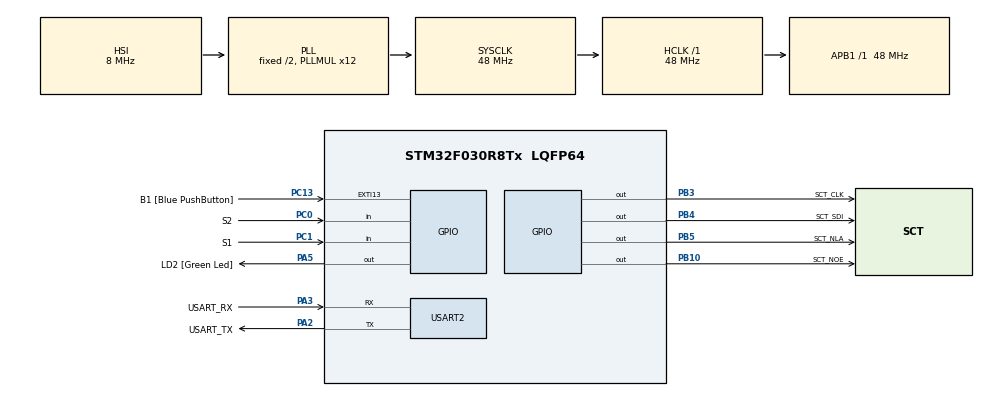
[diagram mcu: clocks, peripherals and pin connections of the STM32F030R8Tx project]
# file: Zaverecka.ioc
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Mcu.Family=STM32F0
Mcu.Name=STM32F030R8Tx
Mcu.Package=LQFP64
PA13.GPIO_Label=TMS
PA13.Mode=Serial_Wire
PA13.Signal=SYS_SWDIO
PA14.GPIO_Label=TCK
PA14.Mode=Serial_Wire
PA14.Signal=SYS_SWCLK
PA2.GPIO_Label=USART_TX
PA2.GPIO_Mode=GPIO_MODE_AF_PP
PA2.GPIO_PuPd=GPIO_NOPULL
PA2.GPIO_Speed=GPIO_SPEED_FREQ_LOW
PA2.Mode=Asynchronous
PA2.Signal=USART2_TX
PA3.GPIO_Label=USART_RX
PA3.GPIO_Mode=GPIO_MODE_AF_PP
PA3.GPIO_PuPd=GPIO_NOPULL
PA3.GPIO_Speed=GPIO_SPEED_FREQ_LOW
PA3.Mode=Asynchronous
PA3.Signal=USART2_RX
PA5.GPIO_Label=LD2 [Green Led]
PA5.GPIO_Mode=GPIO_MODE_OUTPUT_PP
PA5.GPIO_PuPd=GPIO_NOPULL
PA5.GPIO_Speed=GPIO_SPEED_FREQ_LOW
PA5.Signal=GPIO_Output
PB10.GPIO_Label=SCT_NOE
PB10.Signal=GPIO_Output
PB3.GPIO_Label=SCT_CLK
PB3.Signal=GPIO_Output
PB4.GPIO_Label=SCT_SDI
PB4.Signal=GPIO_Output
PB5.GPIO_Label=SCT_NLA
PB5.Signal=GPIO_Output
PC0.GPIO_Label=S2
PC0.Signal=GPIO_Input
PC1.GPIO_Label=S1
PC1.GPIO_PuPd=GPIO_PULLUP
PC1.Signal=GPIO_Input
PC13.GPIO_Label=B1 [Blue PushButton]
PC13.GPIO_ModeDefaultEXTI=GPIO_MODE_IT_FALLING
PC13.Signal=GPXTI13
PC14-OSC32_IN.Mode=LSE-External-Oscillator
PC14-OSC32_IN.Signal=RCC_OSC32_IN
PC15-OSC32_OUT.Mode=LSE-External-Oscillator
PC15-OSC32_OUT.Signal=RCC_OSC32_OUT
PF0-OSC_IN.Mode=HSE-External-Clock-Source
PF0-OSC_IN.Signal=RCC_OSC_IN
PF1-OSC_OUT.Signal=RCC_OSC_OUT
ProjectManager.HeapSize=0x200
ProjectManager.StackSize=0x400
ProjectManager.TargetToolchain=STM32CubeIDE
RCC.AHBFreq_Value=48000000
RCC.APB1Freq_Value=48000000
RCC.APB1TimFreq_Value=48000000
RCC.HCLKFreq_Value=48000000
RCC.PLLMUL=RCC_PLL_MUL12
RCC.SYSCLKFreq_VALUE=48000000
RCC.SYSCLKSource=RCC_SYSCLKSOURCE_PLLCLK
USART2.VirtualMode-Asynchronous=VM_ASYNC
board=NUCLEO-F030R8

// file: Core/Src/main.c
/* USER CODE BEGIN Header */
/**
 ******************************************************************************
 * @file           : main.c
 * @brief          : Main program body
 ******************************************************************************
 * @attention
 *
 * Copyright (c) 2024 STMicroelectronics.
 * All rights reserved.
 *
 * This software is licensed under terms that can be found in the LICENSE file
 * in the root directory of this software component.
 * If no LICENSE file comes with this software, it is provided AS-IS.
 *
 ******************************************************************************
 */
/* USER CODE END Header */
#include "main.h"

/* USER CODE BEGIN Includes */
#include "sct.h"
/* USER CODE END Includes */

UART_HandleTypeDef huart2;

void SystemClock_Config(void);
static void MX_GPIO_Init(void);
static void MX_USART2_UART_Init(void);

int main(void)
{

	/* MCU Configuration--------------------------------------------------------*/

	/* Reset of all peripherals, Initializes the Flash interface and the Systick. */
	HAL_Init();

	/* Configure the system clock */
	SystemClock_Config();

	/* Initialize all configured peripherals */
	MX_GPIO_Init();
	MX_USART2_UART_Init();
	/* USER CODE BEGIN 2 */

	sct_init();
	sct_value(000);
	HAL_Delay(500);
	uint32_t state=1;
	uint32_t direct=0;
	/* USER CODE END 2 */

	/* Infinite loop */
	while (1)
	{

		/* USER CODE BEGIN 3 */

		switch(state){   //state change
		case 1:
			sct_snake(100);
			HAL_Delay(500);
			break;
		case 2:
			sct_snake(10);
			HAL_Delay(500);
			break;
		case 3:
			sct_snake(1);
			HAL_Delay(500);
			break;
		case 4:
			sct_snake(2);
			HAL_Delay(500);
			break;
		case 5:
			sct_snake(3);
			HAL_Delay(500);
			break;
		case 6:
			sct_snake(4);
			HAL_Delay(500);
			break;
		case 7:
			sct_snake(20);
			HAL_Delay(500);
			break;
		case 8:
			sct_snake(200);
			HAL_Delay(500);
			break;
		case 9:
			sct_snake(300);
			HAL_Delay(500);
			break;
		case 10:
			sct_snake(400);
			HAL_Delay(500);
			break;
		default:
			sct_snake(000);
			state=1;
			break;
		}

		// button push
		if (HAL_GPIO_ReadPin(S1_GPIO_Port,S1_Pin)==0){
			direct=0; //S1
		}else if(HAL_GPIO_ReadPin(S2_GPIO_Port,S2_Pin)==0) {
			direct=1; //S2
		}

		if (direct==1){		//direction change
			if (state==1){  //direction <-
				state=10;
			}else{
				state--;}
		}else{				//direction ->
			if (state==10){
				state=1;
			}else{
				state++;}
		}

		/*for(uint8_t i = 0; i < 3; i++){
	  		  sct_snake(111*i);
	  		  HAL_Delay(500);
	  }*/
	}
	/* USER CODE END 3 */
}

void SystemClock_Config(void)
{
	RCC_OscInitTypeDef RCC_OscInitStruct = {0};
	RCC_ClkInitTypeDef RCC_ClkInitStruct = {0};

	/** Initializes the RCC Oscillators according to the specified parameters
	 * in the RCC_OscInitTypeDef structure.
	 */
	RCC_OscInitStruct.OscillatorType = RCC_OSCILLATORTYPE_HSI;
	RCC_OscInitStruct.HSIState = RCC_HSI_ON;
	RCC_OscInitStruct.HSICalibrationValue = RCC_HSICALIBRATION_DEFAULT;
	RCC_OscInitStruct.PLL.PLLState = RCC_PLL_ON;
	RCC_OscInitStruct.PLL.PLLSource = RCC_PLLSOURCE_HSI;
	RCC_OscInitStruct.PLL.PLLMUL = RCC_PLL_MUL12;
	RCC_OscInitStruct.PLL.PREDIV = RCC_PREDIV_DIV1;
	if (HAL_RCC_OscConfig(&RCC_OscInitStruct) != HAL_OK)
	{
		Error_Handler();
	}

	/** Initializes the CPU, AHB and APB buses clocks
	 */
	RCC_ClkInitStruct.ClockType = RCC_CLOCKTYPE_HCLK|RCC_CLOCKTYPE_SYSCLK
			|RCC_CLOCKTYPE_PCLK1;
	RCC_ClkInitStruct.SYSCLKSource = RCC_SYSCLKSOURCE_PLLCLK;
	RCC_ClkInitStruct.AHBCLKDivider = RCC_SYSCLK_DIV1;
	RCC_ClkInitStruct.APB1CLKDivider = RCC_HCLK_DIV1;

	if (HAL_RCC_ClockConfig(&RCC_ClkInitStruct, FLASH_LATENCY_1) != HAL_OK)
	{
		Error_Handler();
	}
}

static void MX_USART2_UART_Init(void)
{

	huart2.Instance = USART2;
	huart2.Init.BaudRate = 38400;
	huart2.Init.WordLength = UART_WORDLENGTH_8B;
	huart2.Init.StopBits = UART_STOPBITS_1;
	huart2.Init.Parity = UART_PARITY_NONE;
	huart2.Init.Mode = UART_MODE_TX_RX;
	huart2.Init.HwFlowCtl = UART_HWCONTROL_NONE;
	huart2.Init.OverSampling = UART_OVERSAMPLING_16;
	huart2.Init.OneBitSampling = UART_ONE_BIT_SAMPLE_DISABLE;
	huart2.AdvancedInit.AdvFeatureInit = UART_ADVFEATURE_NO_INIT;
	if (HAL_UART_Init(&huart2) != HAL_OK)
	{
		Error_Handler();
	}

}

static void MX_GPIO_Init(void)
{
	GPIO_InitTypeDef GPIO_InitStruct = {0};

	/* GPIO Ports Clock Enable */
	__HAL_RCC_GPIOC_CLK_ENABLE();
	__HAL_RCC_GPIOF_CLK_ENABLE();
	__HAL_RCC_GPIOA_CLK_ENABLE();
	__HAL_RCC_GPIOB_CLK_ENABLE();

	/*Configure GPIO pin Output Level */
	HAL_GPIO_WritePin(LD2_GPIO_Port, LD2_Pin, GPIO_PIN_RESET);

	/*Configure GPIO pin Output Level */
	HAL_GPIO_WritePin(GPIOB, SCT_NOE_Pin|SCT_CLK_Pin|SCT_SDI_Pin|SCT_NLA_Pin, GPIO_PIN_RESET);

	/*Configure GPIO pin : B1_Pin */
	GPIO_InitStruct.Pin = B1_Pin;
	GPIO_InitStruct.Mode = GPIO_MODE_IT_FALLING;
	GPIO_InitStruct.Pull = GPIO_NOPULL;
	HAL_GPIO_Init(B1_GPIO_Port, &GPIO_InitStruct);

	/*Configure GPIO pin : S2_Pin */
	GPIO_InitStruct.Pin = S2_Pin;
	GPIO_InitStruct.Mode = GPIO_MODE_INPUT;
	GPIO_InitStruct.Pull = GPIO_NOPULL;
	HAL_GPIO_Init(S2_GPIO_Port, &GPIO_InitStruct);

	/*Configure GPIO pin : S1_Pin */
	GPIO_InitStruct.Pin = S1_Pin;
	GPIO_InitStruct.Mode = GPIO_MODE_INPUT;
	GPIO_InitStruct.Pull = GPIO_PULLUP;
	HAL_GPIO_Init(S1_GPIO_Port, &GPIO_InitStruct);

	/*Configure GPIO pin : LD2_Pin */
	GPIO_InitStruct.Pin = LD2_Pin;
	GPIO_InitStruct.Mode = GPIO_MODE_OUTPUT_PP;
	GPIO_InitStruct.Pull = GPIO_NOPULL;
	GPIO_InitStruct.Speed = GPIO_SPEED_FREQ_LOW;
	HAL_GPIO_Init(LD2_GPIO_Port, &GPIO_InitStruct);

	/*Configure GPIO pins : SCT_NOE_Pin SCT_CLK_Pin SCT_SDI_Pin SCT_NLA_Pin */
	GPIO_InitStruct.Pin = SCT_NOE_Pin|SCT_CLK_Pin|SCT_SDI_Pin|SCT_NLA_Pin;
	GPIO_InitStruct.Mode = GPIO_MODE_OUTPUT_PP;
	GPIO_InitStruct.Pull = GPIO_NOPULL;
	GPIO_InitStruct.Speed = GPIO_SPEED_FREQ_LOW;
	HAL_GPIO_Init(GPIOB, &GPIO_InitStruct);

}

void Error_Handler(void)
{
	__disable_irq();
	while (1)
	{
	}
}
